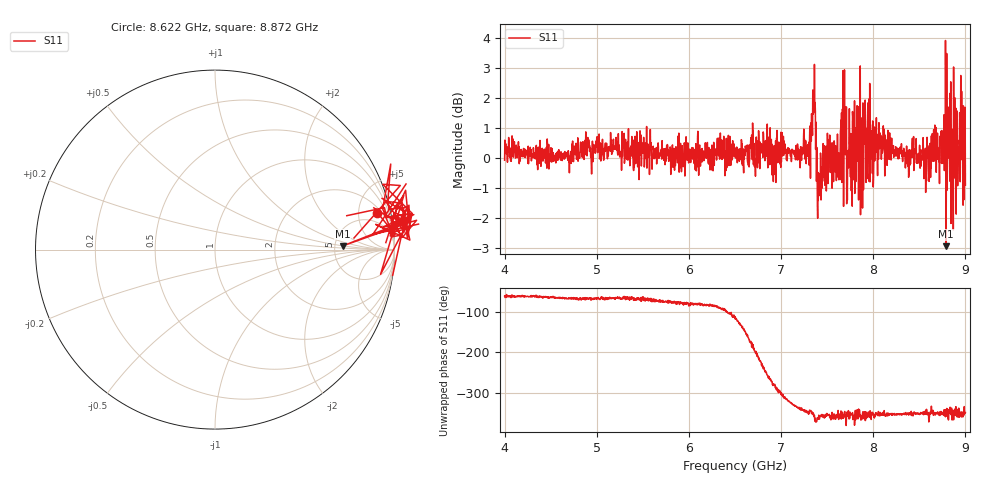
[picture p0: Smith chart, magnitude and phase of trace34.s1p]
! Created with skrf 1.8.0 (http://scikit-rf.org).
# Hz S RI R 50.0
!freq ReS11 ImS11
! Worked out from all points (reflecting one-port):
!   1601 points, 4 GHz to 9 GHz, reference 50 ohm
!   lowest |S11| = -3.0 dB at 8.791 GHz (marker M1), VSWR 5.94, Z = 295 + j24.6 ohm
!   phase of S11 starts at -60 deg and turns -290 deg over the sweep
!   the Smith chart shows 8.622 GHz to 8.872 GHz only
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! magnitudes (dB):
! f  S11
! 4 GHz  -0.1
! 4.625 GHz  -0.1
! 5.25 GHz  0.0
! 5.875 GHz  -0.2
! 6.5 GHz  0.2
! 7.125 GHz  0.2
! 7.294 GHz  0.3
! 7.347 GHz  1.9
! 7.366 GHz  1.6
! 7.4 GHz  -0.5
! 7.419 GHz  -0.5
! 7.525 GHz  0.3
! 7.612 GHz  0.8
! 7.669 GHz  0.5
! 7.75 GHz  -0.2
! 7.788 GHz  0.2
! 7.928 GHz  0.2
! 7.981 GHz  0.1
! 8.134 GHz  0.4
! 8.375 GHz  0.1
! 8.441 GHz  -0.4
! 8.588 GHz  0.0
! 8.656 GHz  0.9
! 8.791 GHz  -3.0
! 8.869 GHz  -2.4
! 8.956 GHz  0.2
! 8.972 GHz  1.3
! 9 GHz  -0.9
